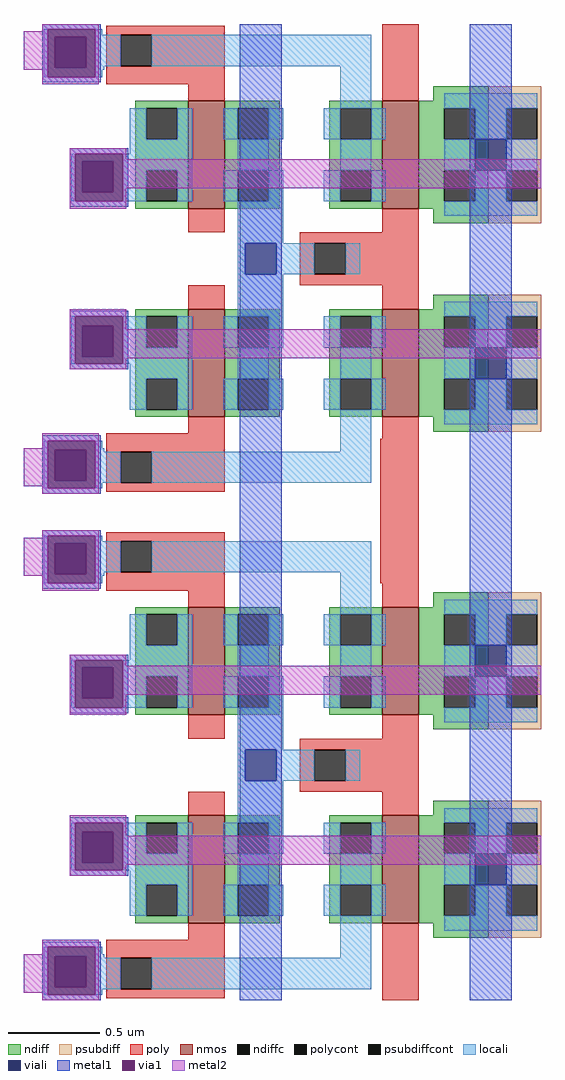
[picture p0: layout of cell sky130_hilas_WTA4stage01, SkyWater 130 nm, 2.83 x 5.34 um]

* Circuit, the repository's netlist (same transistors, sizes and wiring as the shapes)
* Copyright 2020 The Hilas PDK Authors
* 
* This file is part of HILAS.
* 
* HILAS is free software: you can redistribute it and/or modify
* it under the terms of the GNU Lesser General Public License as published by
* the Free Software Foundation, version 3 of the License.
* 
* HILAS is distributed in the hope that it will be useful,
* but WITHOUT ANY WARRANTY; without even the implied warranty of
* MERCHANTABILITY or FITNESS FOR A PARTICULAR PURPOSE.  See the
* GNU Lesser General Public License for more details.
* 
* You should have received a copy of the GNU Lesser General Public License
* along with HILAS.  If not, see <https://www.gnu.org/licenses/>.
* 
* Licensed under the Lesser General Public License, Version 3.0 (the "License");
* you may not use this file except in compliance with the License.
* You may obtain a copy of the License at
* 
* https://www.gnu.org/licenses/lgpl-3.0.en.html
* 
* Unless required by applicable law or agreed to in writing, software
* distributed under the License is distributed on an "AS IS" BASIS,
* WITHOUT WARRANTIES OR CONDITIONS OF ANY KIND, either express or implied.
* See the License for the specific language governing permissions and
* limitations under the License.
* 
* SPDX-License-Identifier: LGPL-3.0
* 
* 

* NGSPICE file created from sky130_hilas_WTA4stage01.ext - technology: sky130A

.subckt sky130_hilas_WTAsinglestage01 a_4_n68# sky130_hilas_li2m2_1/SUB
X0 sky130_hilas_li2m2_1/SUB a_4_n68# a_n126_n150# sky130_hilas_li2m2_1/SUB sky130_fd_pr__nfet_01v8 w=590000u l=200000u
X1 a_4_n68# a_n126_n150# a_n94_n68# sky130_hilas_li2m2_1/SUB sky130_fd_pr__nfet_01v8 w=590000u l=200000u
.ends


* Top level circuit sky130_hilas_WTA4stage01

Xsky130_hilas_WTAsinglestage01_0 a_284_2# SUB sky130_hilas_WTAsinglestage01
Xsky130_hilas_WTAsinglestage01_1 a_284_2# SUB sky130_hilas_WTAsinglestage01
Xsky130_hilas_WTAsinglestage01_2 a_284_2# SUB sky130_hilas_WTAsinglestage01
Xsky130_hilas_WTAsinglestage01_3 a_284_2# SUB sky130_hilas_WTAsinglestage01
.end

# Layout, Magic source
magic
tech sky130A
<< poly >>
rect 142 506 162 535
rect 141 229 162 308
rect 142 1 162 30
<< metal1 >>
rect 64 258 87 278
rect 190 258 213 279
use sky130_hilas_WTAsinglestage01  sky130_hilas_WTAsinglestage01_3
transform 1 0 54 0 1 354
box -108 -76 175 67
use sky130_hilas_WTAsinglestage01  sky130_hilas_WTAsinglestage01_2
transform 1 0 54 0 -1 459
box -108 -76 175 67
use sky130_hilas_WTAsinglestage01  sky130_hilas_WTAsinglestage01_1
transform 1 0 54 0 -1 182
box -108 -76 175 67
use sky130_hilas_WTAsinglestage01  sky130_hilas_WTAsinglestage01_0
transform 1 0 54 0 1 77
box -108 -76 175 67
<< end >>

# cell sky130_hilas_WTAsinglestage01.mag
magic
tech sky130A
<< nmos >>
rect -18 -34 2 25
rect 88 -34 108 25
<< ndiff >>
rect 116 25 146 33
rect -47 21 -18 25
rect -47 4 -41 21
rect -24 4 -18 21
rect -47 -13 -18 4
rect -47 -30 -41 -13
rect -24 -30 -18 -13
rect -47 -34 -18 -30
rect 2 21 32 25
rect 2 4 9 21
rect 26 4 32 21
rect 2 -13 32 4
rect 2 -30 9 -13
rect 26 -30 32 -13
rect 2 -34 32 -30
rect 59 21 88 25
rect 59 4 65 21
rect 82 4 88 21
rect 59 -13 88 4
rect 59 -30 65 -13
rect 82 -30 88 -13
rect 59 -34 88 -30
rect 108 21 146 25
rect 108 4 122 21
rect 139 4 146 21
rect 108 -13 146 4
rect 108 -30 122 -13
rect 139 -30 146 -13
rect 108 -34 146 -30
rect 116 -42 146 -34
<< ndiffc >>
rect -41 4 -24 21
rect -41 -30 -24 -13
rect 9 4 26 21
rect 9 -30 26 -13
rect 65 4 82 21
rect 65 -30 82 -13
rect 122 4 139 21
rect 122 -30 139 -13
<< psubdiff >>
rect 146 21 175 33
rect 146 4 156 21
rect 173 4 175 21
rect 146 -13 175 4
rect 146 -30 156 -13
rect 173 -30 175 -13
rect 146 -42 175 -30
<< psubdiffcont >>
rect 156 4 173 21
rect 156 -30 173 -13
<< poly >>
rect 43 61 108 66
rect 43 44 51 61
rect 68 44 108 61
rect 43 38 108 44
rect -18 25 2 38
rect 88 25 108 38
rect -18 -43 2 -34
rect -63 -53 2 -43
rect 88 -47 108 -34
rect -63 -70 -55 -53
rect -38 -70 2 -53
rect -63 -75 2 -70
<< polycont >>
rect 51 44 68 61
rect -55 -70 -38 -53
<< locali >>
rect 11 61 32 63
rect 9 44 13 61
rect 30 44 51 61
rect 68 44 76 61
rect 9 21 34 44
rect 122 21 173 29
rect -50 4 -41 21
rect -24 4 -16 21
rect 1 4 9 21
rect 26 4 34 21
rect 56 4 65 21
rect 82 4 90 21
rect 139 4 156 21
rect -50 -13 -16 4
rect 9 -13 26 4
rect 65 -13 82 4
rect 122 -13 139 4
rect 156 -13 173 4
rect -50 -30 -41 -13
rect -24 -30 -16 -13
rect 1 -30 9 -13
rect 26 -30 34 -13
rect 56 -30 65 -13
rect 82 -30 90 -13
rect 139 -30 156 -13
rect 65 -53 82 -30
rect 122 -38 173 -30
rect -64 -70 -55 -53
rect -38 -70 82 -53
<< viali >>
rect 13 44 30 61
rect 139 -13 156 4
<< metal1 >>
rect 10 61 33 67
rect 10 44 13 61
rect 30 44 33 61
rect 10 -76 33 44
rect 136 4 159 53
rect 136 -13 139 4
rect 156 -13 159 4
rect 136 -76 159 -13
<< metal2 >>
rect -54 -2 175 14
rect -108 -72 -96 -51
use sky130_hilas_li2m2  sky130_hilas_li2m2_1
transform 1 0 -84 0 1 -61
box -14 -15 20 18
use sky130_hilas_li2m2  sky130_hilas_li2m2_0
transform 1 0 -69 0 1 7
box -14 -15 20 18
<< end >>

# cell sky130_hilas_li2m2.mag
magic
tech sky130A
<< locali >>
rect -13 10 19 14
rect -13 9 20 10
rect -13 -8 -7 9
rect 10 -8 20 9
rect -13 -9 20 -8
rect -13 -12 19 -9
<< viali >>
rect -7 -8 10 9
<< metal1 >>
rect -14 14 18 17
rect -14 -12 -11 14
rect 15 -12 18 14
rect -14 -15 18 -12
<< via1 >>
rect -11 9 15 14
rect -11 -8 -7 9
rect -7 -8 10 9
rect 10 -8 15 9
rect -11 -12 15 -8
<< metal2 >>
rect -14 14 17 18
rect -14 -12 -11 14
rect 15 -12 17 14
rect -14 -15 17 -12
<< end >>
